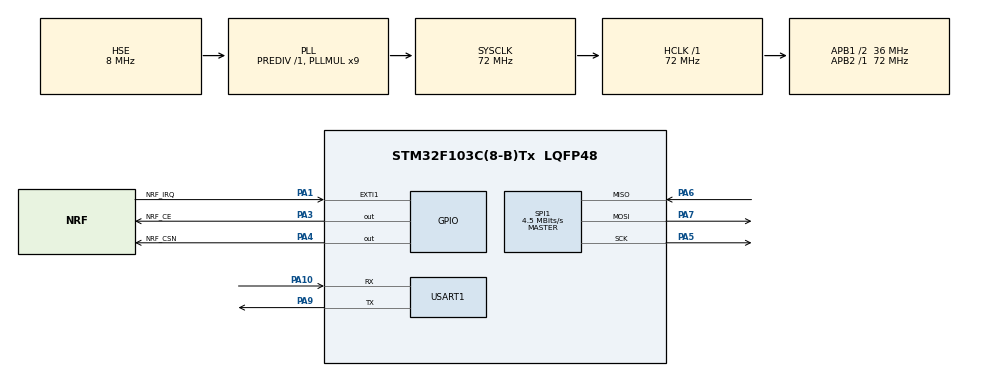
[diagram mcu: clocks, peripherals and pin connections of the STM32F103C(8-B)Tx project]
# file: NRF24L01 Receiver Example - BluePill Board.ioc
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Mcu.Family=STM32F1
Mcu.Name=STM32F103C(8-B)Tx
Mcu.Package=LQFP48
NVIC.EXTI1_IRQn=true\:0\:0\:false\:false\:true\:true\:true\:true
NVIC.PriorityGroup=NVIC_PRIORITYGROUP_4
PA1.GPIO_Label=NRF_IRQ
PA1.GPIO_ModeDefaultEXTI=GPIO_MODE_IT_FALLING
PA1.Signal=GPXTI1
PA10.Mode=Asynchronous
PA10.Signal=USART1_RX
PA3.GPIO_Label=NRF_CE
PA3.GPIO_Speed=GPIO_SPEED_FREQ_HIGH
PA3.Signal=GPIO_Output
PA4.GPIO_Label=NRF_CSN
PA4.GPIO_Speed=GPIO_SPEED_FREQ_HIGH
PA4.PinState=GPIO_PIN_SET
PA4.Signal=GPIO_Output
PA5.Mode=Full_Duplex_Master
PA5.Signal=SPI1_SCK
PA6.Mode=Full_Duplex_Master
PA6.Signal=SPI1_MISO
PA7.Mode=Full_Duplex_Master
PA7.Signal=SPI1_MOSI
PA9.Mode=Asynchronous
PA9.Signal=USART1_TX
PD0-OSC_IN.Mode=HSE-External-Oscillator
PD0-OSC_IN.Signal=RCC_OSC_IN
PD1-OSC_OUT.Mode=HSE-External-Oscillator
PD1-OSC_OUT.Signal=RCC_OSC_OUT
ProjectManager.HeapSize=0x200
ProjectManager.StackSize=0x400
ProjectManager.TargetToolchain=STM32CubeIDE
RCC.AHBFreq_Value=72000000
RCC.APB1CLKDivider=RCC_HCLK_DIV2
RCC.APB1Freq_Value=36000000
RCC.APB1TimFreq_Value=72000000
RCC.APB2Freq_Value=72000000
RCC.APB2TimFreq_Value=72000000
RCC.HCLKFreq_Value=72000000
RCC.PLLMUL=RCC_PLL_MUL9
RCC.PLLSourceVirtual=RCC_PLLSOURCE_HSE
RCC.SYSCLKFreq_VALUE=72000000
RCC.SYSCLKSource=RCC_SYSCLKSOURCE_PLLCLK
RCC.USBFreq_Value=72000000
SPI1.BaudRatePrescaler=SPI_BAUDRATEPRESCALER_16
SPI1.CalculateBaudRate=4.5 MBits/s
SPI1.Direction=SPI_DIRECTION_2LINES
SPI1.Mode=SPI_MODE_MASTER
SPI1.VirtualType=VM_MASTER
USART1.VirtualMode=VM_ASYNC
VP_SYS_VS_ND.Mode=No_Debug
board=custom

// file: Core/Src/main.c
/* USER CODE BEGIN Header */
/**
 ******************************************************************************
 * @file           : main.c
 * @brief          : Main program body
 ******************************************************************************
 * @attention
 *
 * Copyright (c) 2023 STMicroelectronics.
 * All rights reserved.
 *
 * This software is licensed under terms that can be found in the LICENSE file
 * in the root directory of this software component.
 * If no LICENSE file comes with this software, it is provided AS-IS.
 *
 ******************************************************************************
 */
/* USER CODE END Header */
#include "main.h"
#include "spi.h"
#include "usart.h"
#include "gpio.h"

/* USER CODE BEGIN Includes */
#include <stdio.h>
#include <string.h>

#include "nrf24l01.h"

/* USER CODE END Includes */

void SystemClock_Config(void);

/* USER CODE BEGIN 0 */
char msg[50] = {0};

uint8_t RxNumber = 10;

uint8_t RxBuffer[NRF24L01_PAYLOAD_LENGTH] = { 0, };

void HAL_GPIO_EXTI_Callback(uint16_t GPIO_Pin)
{
	if(GPIO_Pin == NRF24L01_IRQ_GPIO_PIN)
	{
		NRF24L01_RxReceive(RxBuffer, &RxNumber, 2000);
		sprintf(msg, "%s  From Pipe %d\n", RxBuffer, RxNumber);
		HAL_UART_Transmit(&huart1, (uint8_t *)msg, strlen(msg), 100);
	}
}
/* USER CODE END 0 */

int main(void)
{

	/* MCU Configuration--------------------------------------------------------*/

	/* Reset of all peripherals, Initializes the Flash interface and the Systick. */
	HAL_Init();

	/* Configure the system clock */
	SystemClock_Config();

	/* Initialize all configured peripherals */
	MX_GPIO_Init();
	MX_SPI1_Init();
	MX_USART1_UART_Init();
	/* USER CODE BEGIN 2 */

	uint8_t RxAddress0[5] = {0x78, 0x78, 0x78, 0x78, 0x78};
	uint8_t RxAddress1[5] = {0xB3, 0xB4, 0xB5, 0xB6, 0xCD};
	uint8_t RxAddress2 = 0xF3;
	uint8_t RxAddress3 = 0xF2;
	uint8_t RxAddress4 = 0xF4;
	uint8_t RxAddress5 = 0xF1;

	NRF24L01_RxInit(100, NRF24L01_DATA_RATE_1MBPS, 2000);

	NRF24L01_SetRxAddress(NRF24L01_RX_ADDRESS_P0, RxAddress0, 2000);
	NRF24L01_SetRxAddress(NRF24L01_RX_ADDRESS_P1, RxAddress1, 2000);
	NRF24L01_SetRxAddress(NRF24L01_RX_ADDRESS_P2, &RxAddress2, 2000);
	NRF24L01_SetRxAddress(NRF24L01_RX_ADDRESS_P3, &RxAddress3, 2000);
	NRF24L01_SetRxAddress(NRF24L01_RX_ADDRESS_P4, &RxAddress4, 2000);
	NRF24L01_SetRxAddress(NRF24L01_RX_ADDRESS_P5, &RxAddress5, 2000);

	/* USER CODE END 2 */

	/* Infinite loop */
	/* USER CODE BEGIN WHILE */
	while (1)
	{
		HAL_Delay(100);
		/* USER CODE END WHILE */

	}
}

void SystemClock_Config(void)
{
	RCC_OscInitTypeDef RCC_OscInitStruct = {0};
	RCC_ClkInitTypeDef RCC_ClkInitStruct = {0};

	/** Initializes the RCC Oscillators according to the specified parameters
	 * in the RCC_OscInitTypeDef structure.
	 */
	RCC_OscInitStruct.OscillatorType = RCC_OSCILLATORTYPE_HSE;
	RCC_OscInitStruct.HSEState = RCC_HSE_ON;
	RCC_OscInitStruct.HSEPredivValue = RCC_HSE_PREDIV_DIV1;
	RCC_OscInitStruct.HSIState = RCC_HSI_ON;
	RCC_OscInitStruct.PLL.PLLState = RCC_PLL_ON;
	RCC_OscInitStruct.PLL.PLLSource = RCC_PLLSOURCE_HSE;
	RCC_OscInitStruct.PLL.PLLMUL = RCC_PLL_MUL9;
	if (HAL_RCC_OscConfig(&RCC_OscInitStruct) != HAL_OK)
	{
		Error_Handler();
	}

	/** Initializes the CPU, AHB and APB buses clocks
	 */
	RCC_ClkInitStruct.ClockType = RCC_CLOCKTYPE_HCLK|RCC_CLOCKTYPE_SYSCLK
			|RCC_CLOCKTYPE_PCLK1|RCC_CLOCKTYPE_PCLK2;
	RCC_ClkInitStruct.SYSCLKSource = RCC_SYSCLKSOURCE_PLLCLK;
	RCC_ClkInitStruct.AHBCLKDivider = RCC_SYSCLK_DIV1;
	RCC_ClkInitStruct.APB1CLKDivider = RCC_HCLK_DIV2;
	RCC_ClkInitStruct.APB2CLKDivider = RCC_HCLK_DIV1;

	if (HAL_RCC_ClockConfig(&RCC_ClkInitStruct, FLASH_LATENCY_2) != HAL_OK)
	{
		Error_Handler();
	}
}

void Error_Handler(void)
{
	__disable_irq();
	while (1)
	{
	}
}
